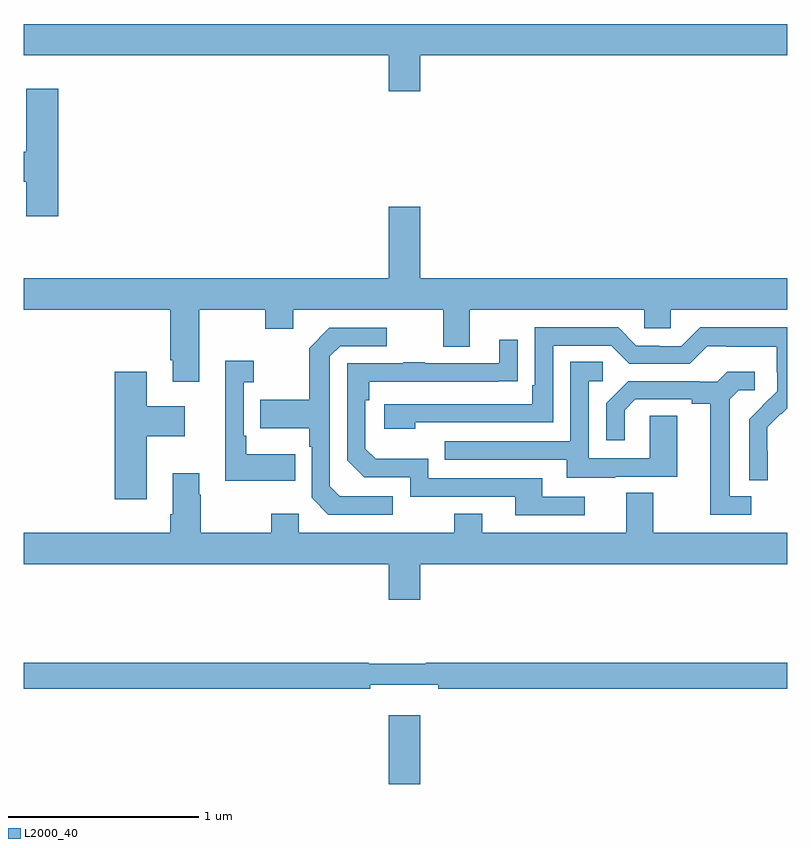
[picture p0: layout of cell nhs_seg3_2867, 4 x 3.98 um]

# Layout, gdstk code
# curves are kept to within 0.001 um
import gdstk
lib = gdstk.Library(unit=1e-6, precision=1e-09)
def R(c, l, rs):  # rectangles x0, y0, x1, y1
    for r in rs: c.add(gdstk.rectangle(r[:2], r[2:], *l))
def P(c, l, *ps):  # polygons
    for p in ps: c.add(gdstk.Polygon(p, *l))
L2000_40 = (2000, 40)

nhs_seg3_2867 = lib.new_cell('nhs_seg3_2867')
R(nhs_seg3_2867, L2000_40, [(260.912,730.4,261.076,730.759)])
P(nhs_seg3_2867, L2000_40, [(261.076,734.216),(263,734.216),(263,734.38),(259,734.38),(259,734.216),(260.912,734.216),(260.912,734.028),(261.076,734.028)],
  [(259.181,734.041),(259.013,734.041),(259.013,733.711),(259,733.711),(259,733.553),(259.013,733.553),(259.013,733.374),(259.181,733.374)],
  [(259.921,732.884),(260.266,732.884),(260.266,732.785),(260.413,732.785),(260.413,732.884),(261.197,732.884),(261.197,732.69),(261.337,732.69),(261.337,732.884),(262.251,732.884),(262.251,732.786),(262.389,732.786),(262.389,732.884),(263,732.884),(263,733.048),(261.076,733.048),(261.076,733.423),(260.912,733.423),(260.912,733.048),(259,733.048),(259,732.884),(259.769,732.884),(259.769,732.619),(259.781,732.619),(259.781,732.507),(259.921,732.507)],
  [(262.896,732.146),(262.895,732.269),(262.965,732.339),(262.968,732.336),(263,732.368),(263,732.793),(262.543,732.793),(262.443,732.693),(262.328,732.693),(262.328,732.696),(262.209,732.696),(262.113,732.792),(261.678,732.792),(261.678,732.487),(261.665,732.487),(261.665,732.39),(260.889,732.39),(260.889,732.26),(261.05,732.26),(261.05,732.294),(261.774,732.294),(261.774,732.696),(262.077,732.696),(262.173,732.6),(262.488,732.6),(262.581,732.693),(262.681,732.693),(262.681,732.689),(262.944,732.689),(262.944,732.555),(262.946,732.555),(262.946,732.458),(262.8,732.31),(262.8,731.992),(262.896,731.992)],
  [(260.932,731.907),(260.655,731.907),(260.604,731.958),(260.604,732.639),(260.658,732.693),(260.902,732.693),(260.902,732.789),(260.601,732.789),(260.496,732.683),(260.496,732.411),(260.239,732.411),(260.239,732.263),(260.496,732.263),(260.496,732.167),(260.508,732.167),(260.508,731.898),(260.595,731.811),(260.932,731.811)],
  [(261.94,731.904),(261.715,731.904),(261.715,732),(261.12,732),(261.12,732.103),(260.843,732.103),(260.79,732.156),(260.79,732.41),(260.81,732.41),(260.81,732.507),(261.587,732.508),(261.587,732.727),(261.491,732.727),(261.491,732.603),(261.101,732.603),(261.101,732.608),(260.989,732.608),(260.989,732.603),(260.694,732.603),(260.694,732.096),(260.784,732.006),(261.024,732.006),(261.024,731.904),(261.575,731.904),(261.575,731.808),(261.94,731.808)],
  [(260.423,732.127),(260.166,732.127),(260.166,732.223),(260.154,732.223),(260.154,732.503),(260.206,732.503),(260.206,732.616),(260.057,732.616),(260.057,731.987),(260.423,731.987)],
  [(262.099,732.009),(262.423,732.009),(262.423,732.329),(262.278,732.329),(262.278,732.105),(261.96,732.105),(261.96,732.51),(262.033,732.51),(262.033,732.611),(261.864,732.611),(261.864,732.195),(261.205,732.195),(261.205,732.099),(261.845,732.099),(261.845,732.005),(262.099,732.005)],
  [(259.645,732.221),(259.843,732.221),(259.843,732.379),(259.645,732.379),(259.645,732.559),(259.478,732.559),(259.478,731.892),(259.645,731.892)],
  [(262.81,731.907),(262.699,731.907),(262.699,732.415),(262.746,732.462),(262.828,732.462),(262.828,732.559),(262.684,732.559),(262.632,732.507),(262.538,732.507),(262.538,732.51),(262.166,732.51),(262.05,732.394),(262.05,732.201),(262.147,732.201),(262.147,732.357),(262.204,732.414),(262.499,732.414),(262.499,732.392),(262.595,732.392),(262.595,731.811),(262.81,731.811)],
  [(261.076,731.552),(263,731.552),(263,731.716),(262.297,731.716),(262.297,731.924),(262.157,731.924),(262.157,731.716),(261.403,731.716),(261.403,731.815),(261.256,731.815),(261.256,731.716),(260.442,731.716),(260.442,731.815),(260.296,731.815),(260.296,731.716),(259.929,731.716),(259.929,731.915),(259.921,731.915),(259.921,732.028),(259.781,732.028),(259.781,731.812),(259.769,731.812),(259.769,731.716),(259,731.716),(259,731.552),(260.912,731.552),(260.912,731.364),(261.076,731.364)],
  [(260.816,730.919),(261.172,730.919),(261.172,730.9),(263,730.9),(263,731.036),(261.107,731.036),(261.107,731.029),(260.807,731.029),(260.807,731.036),(259,731.036),(259,730.9),(260.816,730.9)])

lib.write_gds('nhs_seg3_2867.gds')
